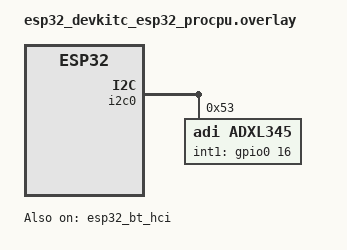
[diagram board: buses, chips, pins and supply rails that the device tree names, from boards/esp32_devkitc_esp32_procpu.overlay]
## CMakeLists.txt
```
cmake_minimum_required(VERSION 3.20.0)

find_package(Zephyr REQUIRED HINTS $ENV{ZEPHYR_BASE})
project(ADXL_BLE)

target_sources(app PRIVATE src/main.c)
```

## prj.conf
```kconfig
# Configure a GPIO
CONFIG_GPIO=y
CONFIG_I2C=y
# Enable BT for Bluetooth Communication
CONFIG_BT=y
CONFIG_BT_HCI=y
CONFIG_BT_PERIPHERAL=y
# Enable BT Services for Bluetooth's BAS Communication
CONFIG_BT_BAS=y
# Enable Sensor : Asynchronous API
CONFIG_SENSOR=y
CONFIG_SENSOR_ASYNC_API=y
# Configure the ADXL 345 Accelerometer
CONFIG_ADXL345=y

# ****** CONFIGURATION 1 ******* #
# Configure Interrupt CB's to run on Global Thread
# CONFIG_ADXL345_TRIGGER_GLOBAL_THREAD=y

# ****** CONFIGURATION 2 ******* #
# Configure a Thread Stack for TRRIGER on a Seperate Thread
CONFIG_ADXL345_TRIGGER_OWN_THREAD=y
CONFIG_ADXL345_THREAD_PRIORITY=10
CONFIG_ADXL345_THREAD_STACK_SIZE=2048

# Parsed using the `BT_DATA_NAME_COMPLETE` Macro in main code;
CONFIG_BT_DEVICE_NAME="Zephyr Accelerometer ADXL345"
```

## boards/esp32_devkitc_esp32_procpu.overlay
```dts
#include <zephyr/dt-bindings/sensor/adxl345.h>

/ {
	aliases {
		accelerometer = &adxl345;
	};
};

&pinctrl {
	/* Create Nodes for I2C Pin Control */
	i2c0_default:i2c0_default {
		/* zephyr\include\zephyr\dt-bindings\pinctrl\esp32-pinctrl.h */
		group1 {
			pinmux = <I2C0_SCL_GPIO22>, <I2C0_SDA_GPIO21>;
			bias-pull-up;
		};
	};
};

/* i2c0 Node, connected to ADXL 345 accelerometer */
&i2c0 {
	compatible = "espressif,esp32-i2c";
	status = "okay";

	/* Configure Pin Controller to Control the i2c0 Node */
	pinctrl-0 = <&i2c0_default>;
	pinctrl-names = "default";

	/* Device on the I2C Bus of an ESP32 Dev-Kit C */
	adxl345:adxl345@53 {
		compatible = "adi,adxl345";
		friendly-name = "aadharsh 3 - axis accelerometer";
		/* Default Address on Bus for ADXL 345 */
		reg = <0x53>;

		range = <ADXL345_DT_RANGE_8G>;
		odr = <ADXL345_DT_ODR_25>;

		fifo-watermark = <31>;
		/* Refer to GPIO Header in `dt-bindings\gpio.h` and not from the `drivers\gpio.h` */
		int1-gpios = <&gpio0 16 (GPIO_ACTIVE_HIGH | GPIO_PULL_DOWN)>;
	};
};

/* Enable HCI for BLE : BLE is a Integrated Chip in the ESP 32 Module */
&esp32_bt_hci {
	compatible = "espressif,esp32-bt-hci";
	bt-hci-vs-ext;
	status = "okay";
};
```

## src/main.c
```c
#include <zephyr/devicetree.h>

#include <zephyr/kernel.h>
#include <zephyr/device.h>

#include <zephyr/drivers/sensor.h>

#include <zephyr/bluetooth/bluetooth.h>
#include <zephyr/bluetooth/hci.h>
#include <zephyr/bluetooth/conn.h>
#include <zephyr/bluetooth/uuid.h>
#include <zephyr/bluetooth/gatt.h>

#include <zephyr/bluetooth/services/bas.h>

/**
 * @brief Code to Read from an ADXL345 Accelerometer using a ESP32 in Triggered Mode.
 * TRIGGER occurs after each Data Ready Event.
 * 
 */

uint8_t battery_level = 100U;
/* 
SECTION 01 : Initialization of Variables
    1. Get Sensor from DT and Create Space for Sensor Readings
    2. Initialize BLE ad[] Advertisment Data
*/
static const struct device *const accelerometer = DEVICE_DT_GET(DT_ALIAS(accelerometer));
struct sensor_value sensor_reading[3];

/* Create a Sensor Trigger */
struct sensor_trigger trig = {
    .type = SENSOR_TRIG_DATA_READY,
    .chan = SENSOR_CHAN_ACCEL_XYZ,
};

/* LL Packet Data Data for BLE Advertisment and Scan Response */
static const struct bt_data ad[] = {
	BT_DATA_BYTES(BT_DATA_FLAGS, (BT_LE_AD_GENERAL | BT_LE_AD_NO_BREDR)),
	BT_DATA_BYTES(BT_DATA_UUID16_ALL,
		        BT_UUID_16_ENCODE(BT_UUID_BAS_VAL)),
/* Accelerometer is Published as Environment Sensing ESS*/
#if defined(CONFIG_BT_EXT_ADV)
	BT_DATA(BT_DATA_NAME_COMPLETE, CONFIG_BT_DEVICE_NAME, sizeof(CONFIG_BT_DEVICE_NAME) - 1),
#endif /* CONFIG_BT_EXT_ADV */
};

#if !defined(CONFIG_BT_EXT_ADV)
static const struct bt_data sd[] = {
	BT_DATA(BT_DATA_NAME_COMPLETE, CONFIG_BT_DEVICE_NAME, sizeof(CONFIG_BT_DEVICE_NAME) - 1),
};
#endif /* !CONFIG_BT_EXT_ADV */

/*
sensor accelerometer_notify function's signature is strictly defined by : 
`zephyr/drivers/sensor.h`
*/
static void accelerometer_notify(
    const struct device *dev,
    const struct sensor_trigger *trigger)
{
    /* Read from an Accelerometer and Publish its Readings */
    if (sensor_sample_fetch(dev) < 0) {
        printk("Sensor sample fetch failed\n");
        return;
    }

    sensor_channel_get(dev, SENSOR_CHAN_ACCEL_XYZ, sensor_reading);

    /*
    Set a Battery Level :
        Accelerometer is not a Standard GATT Service and Must be Cutomized
        (bt_conn*) is set as NULL to advertise to all Connections
        */
    bt_bas_set_battery_level(battery_level--);

    if (battery_level < 0) {
        battery_level = 100U;
    }

    /* Display Acceleration */
    printk("Acceleration [\n\tx: %d.%06d,\ty: %d.%06d,\tz: %d.%06d]\n",
        sensor_reading[0].val1, sensor_reading[0].val2,
        sensor_reading[1].val1, sensor_reading[1].val2,
        sensor_reading[2].val1, sensor_reading[2].val2);
}

/* Establish and Terminate a BT LE Connection */
void connected(struct bt_conn *conn, uint8_t err)
{
    /* Establish a BT LE Connection */
    if (err) {
        printk("Connection Couldn't be Established\n");
    } else {
        printk("Connection Established Successfully ...\n");
    }
}

void disconnected(struct bt_conn *conn, uint8_t err)
{
    /* Terminate a BT LE Connection */
    printk("Disconnected BT LE Device\n");
}

/* Register a Connection and Disconnection CB to the Call Back List */
BT_CONN_CB_DEFINE(conn_callbacks) = {
	.connected = connected,
	.disconnected = disconnected,
};

static int bt_ready()
{
    /* Begin Advertisment of BLE */
	int err = bt_le_adv_start(
                        BT_LE_ADV_CONN_FAST_1,
                        ad, ARRAY_SIZE(ad),
                        sd, ARRAY_SIZE(sd));
	if (err) {
		printk("Advertising Failed to Start (ERROR : %d)\n", err);
		return -EIO;
	}
	printk("Advertising Successfully Started\n");
    return 0;
}


int main()
{
    int err;

    /* Check if Device is Ready */
    if (!device_is_ready(accelerometer)) {
        printk("Accelerometer Not Initialized.\n");
        return -ENODEV;
    }
    printk("Accelerometer Initialization Status : SUCCESS\n");

    /* register or set trigger using Zephyr's sensor API */
    int ret = sensor_trigger_set(accelerometer, &trig, accelerometer_notify);
    if (ret < 0) {
        printk("Failed to set trigger: %d\n", ret);
        return ret;
    }

    /* Advertise BT Data */
    printk ("BLE Sensor Data Advertisment ...\n");

    /* Enable BLE Synchronously */
    err = bt_enable(NULL);
    if (err) {
        printk ("Bluetooth Initialization Failed (ERR %d)\n", err);
        return -EIO;
    }
    printk ("Bluetooth Initialization Success\n");

    /* Start BLE Advertisment */
    bt_ready();

    /* Loop Forever : Keep Main Thread Alive*/
    while(1) {
        printk("Main Thread is Alive!\n");
        k_msleep(1000);     /* Yield : Allow Trigger Function to RUN */
    }

    return 0;
}
```
